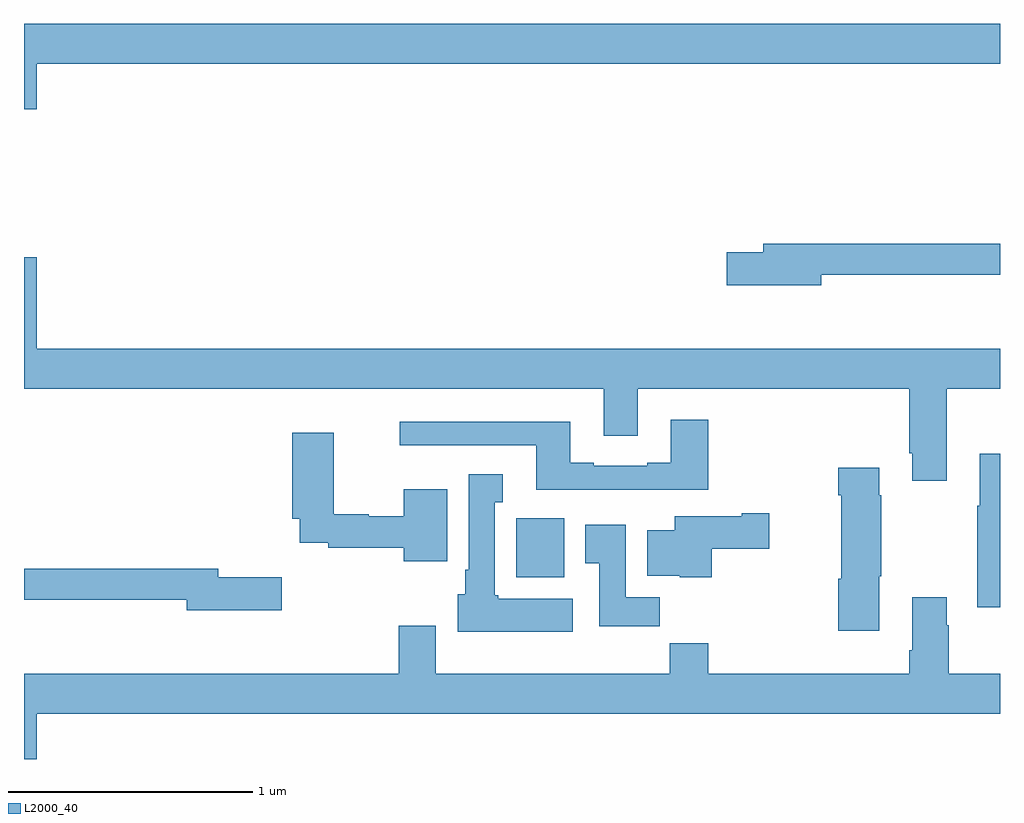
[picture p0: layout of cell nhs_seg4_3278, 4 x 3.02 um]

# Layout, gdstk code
import gdstk
lib = gdstk.Library(unit=1e-6, precision=1e-09)
def R(c, l, rs):  # rectangles x0, y0, x1, y1
    for r in rs: c.add(gdstk.rectangle(r[:2], r[2:], *l))
def P(c, l, *ps):  # polygons
    for p in ps: c.add(gdstk.Polygon(p, *l))
L2000_40 = (2000, 40)

nhs_seg4_3278 = lib.new_cell('nhs_seg4_3278')
R(nhs_seg4_3278, L2000_40, [(287.018,756.086,287.215,756.328)])
P(nhs_seg4_3278, L2000_40, [(285.052,758.192),(289,758.192),(289,758.356),(285,758.356),(285,758.004),(285.052,758.004)],
  [(288.268,757.326),(289,757.326),(289,757.454),(288.029,757.454),(288.029,757.418),(287.88,757.418),(287.88,757.283),(288.268,757.283)],
  [(288.781,756.86),(289,756.86),(289,757.024),(285.052,757.024),(285.052,757.399),(285,757.399),(285,756.86),(287.375,756.86),(287.375,756.666),(287.515,756.666),(287.515,756.86),(288.629,756.86),(288.629,756.595),(288.641,756.595),(288.641,756.483),(288.781,756.483)],
  [(287.804,756.733),(287.651,756.733),(287.651,756.556),(287.555,756.556),(287.555,756.543),(287.335,756.543),(287.335,756.556),(287.239,756.556),(287.239,756.724),(286.539,756.724),(286.539,756.627),(287.099,756.627),(287.099,756.446),(287.804,756.446)],
  [(286.735,756.448),(286.556,756.448),(286.556,756.337),(286.413,756.337),(286.413,756.344),(286.27,756.344),(286.27,756.679),(286.1,756.679),(286.1,756.326),(286.13,756.326),(286.13,756.228),(286.246,756.228),(286.246,756.208),(286.556,756.208),(286.556,756.152),(286.735,756.152)],
  [(289,756.592),(288.917,756.592),(288.917,756.379),(288.906,756.379),(288.906,755.963),(289,755.963)],
  [(288.505,756.091),(288.513,756.091),(288.513,756.422),(288.505,756.422),(288.505,756.535),(288.338,756.535),(288.338,756.422),(288.35,756.422),(288.35,756.08),(288.338,756.08),(288.338,755.868),(288.505,755.868)],
  [(287.248,755.998),(286.944,755.998),(286.944,756.012),(286.93,756.012),(286.93,756.395),(286.963,756.395),(286.963,756.508),(286.823,756.508),(286.823,756.118),(286.808,756.118),(286.808,756.018),(286.778,756.018),(286.778,755.864),(287.248,755.864)],
  [(287.819,756.203),(288.055,756.203),(288.055,756.35),(287.942,756.35),(287.942,756.337),(287.666,756.337),(287.666,756.28),(287.555,756.28),(287.555,756.092),(287.688,756.092),(287.688,756.086),(287.819,756.086)],
  [(287.606,756.004),(287.467,756.004),(287.467,756.301),(287.3,756.301),(287.3,756.145),(287.357,756.145),(287.357,755.886),(287.606,755.886)],
  [(286.057,756.086),(285.796,756.086),(285.796,756.122),(285,756.122),(285,755.994),(285.668,755.994),(285.668,755.951),(286.057,755.951)],
  [(285.052,755.528),(289,755.528),(289,755.692),(288.789,755.692),(288.789,755.891),(288.781,755.891),(288.781,756.004),(288.641,756.004),(288.641,755.788),(288.629,755.788),(288.629,755.692),(287.804,755.692),(287.804,755.816),(287.647,755.816),(287.647,755.692),(286.687,755.692),(286.687,755.887),(286.535,755.887),(286.535,755.692),(285,755.692),(285,755.34),(285.052,755.34)])

lib.write_gds('nhs_seg4_3278.gds')
